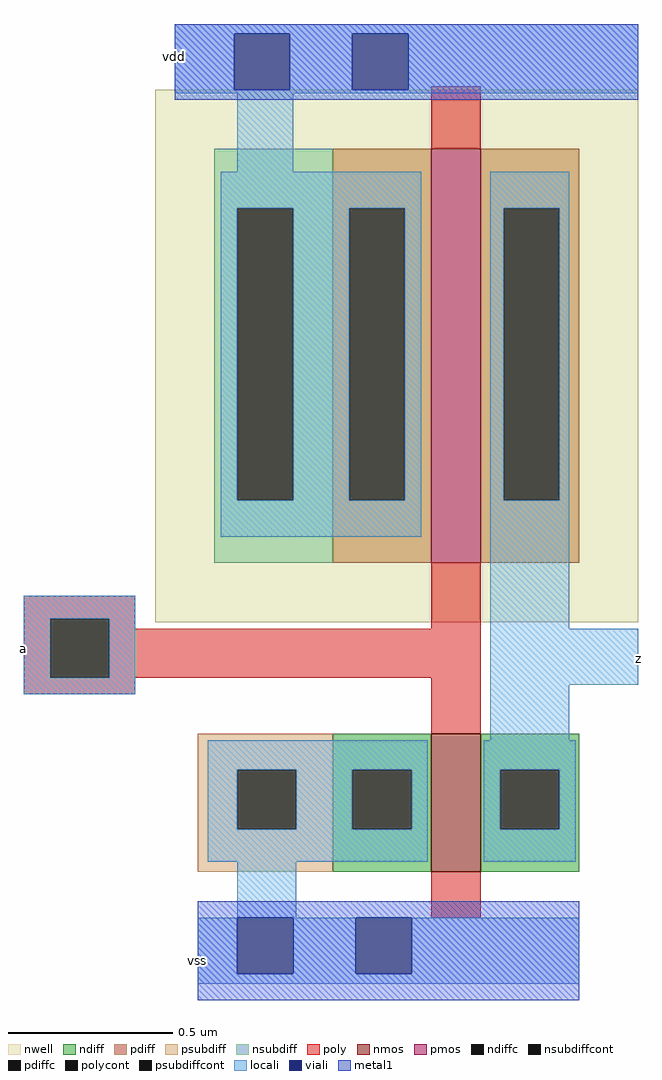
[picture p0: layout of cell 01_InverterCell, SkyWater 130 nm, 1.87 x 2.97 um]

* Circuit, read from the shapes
.subckt 01_InverterCell vdd vss a z
XM1 z a vss vss sky130_fd_pr__nfet_01v8 w=0.42 l=0.15
XM2 z a vdd vdd sky130_fd_pr__pfet_01v8 w=1.26 l=0.15
.ends

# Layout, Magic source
magic
tech sky130A
<< nwell >>
rect -81 98 66 260
<< nmos >>
rect 3 22 18 64
<< pmos >>
rect 3 116 18 242
<< ndiff >>
rect -27 53 3 64
rect -27 35 -21 53
rect -3 35 3 53
rect -27 22 3 35
rect 18 53 48 64
rect 18 35 24 53
rect 42 35 48 53
rect 18 22 48 35
<< pdiff >>
rect -27 224 3 242
rect -27 135 -22 224
rect -5 135 3 224
rect -27 116 3 135
rect 18 224 48 242
rect 18 135 25 224
rect 42 135 48 224
rect 18 116 48 135
<< ndiffc >>
rect -21 35 -3 53
rect 24 35 42 53
<< pdiffc >>
rect -22 135 -5 224
rect 25 135 42 224
<< psubdiff >>
rect -68 53 -27 64
rect -68 35 -56 53
rect -38 35 -27 53
rect -68 22 -27 35
<< nsubdiff >>
rect -63 224 -27 242
rect -63 135 -56 224
rect -39 135 -27 224
rect -63 116 -27 135
<< psubdiffcont >>
rect -56 35 -38 53
<< nsubdiffcont >>
rect -56 135 -39 224
<< poly >>
rect 3 242 18 261
rect -121 99 -87 106
rect -121 81 -113 99
rect -95 96 -87 99
rect 3 96 18 116
rect -95 81 18 96
rect -121 76 -87 81
rect 3 64 18 81
rect 3 8 18 22
<< polycont >>
rect -113 81 -95 99
<< locali >>
rect -75 277 66 280
rect -75 260 -57 277
rect -40 260 -21 277
rect -4 260 66 277
rect -75 259 66 260
rect -56 235 -39 259
rect -61 224 0 235
rect -61 135 -56 224
rect -39 135 -22 224
rect -5 135 0 224
rect -61 124 0 135
rect 21 224 45 235
rect 21 135 25 224
rect 42 135 45 224
rect -121 99 -87 106
rect -121 81 -113 99
rect -95 81 -87 99
rect -121 76 -87 81
rect 21 96 45 135
rect 21 79 66 96
rect 21 62 45 79
rect -65 53 2 62
rect -65 35 -56 53
rect -38 35 -21 53
rect -3 35 2 53
rect -65 25 2 35
rect 19 53 47 62
rect 19 35 24 53
rect 42 35 47 53
rect 19 25 47 35
rect -56 8 -38 25
rect -68 -9 -56 8
rect -39 -9 -20 8
rect -3 -9 48 8
rect -68 -12 48 -9
<< viali >>
rect -57 260 -40 277
rect -21 260 -4 277
rect -56 -9 -39 8
rect -20 -9 -3 8
<< metal1 >>
rect -75 277 66 280
rect -75 260 -57 277
rect -40 260 -21 277
rect -4 260 66 277
rect -75 257 66 260
rect -68 8 48 13
rect -68 -9 -56 8
rect -39 -9 -20 8
rect -3 -9 48 8
rect -68 -17 48 -9
<< labels >>
flabel locali -121 90 -121 90 3 FreeSans 80 0 0 0 a
port 3 e
flabel locali 66 87 66 87 7 FreeSans 80 0 0 0 z
port 4 w
flabel metal1 -75 270 -75 270 1 FreeSans 80 0 0 0 vdd
port 1 n
flabel metal1 -68 -5 -68 -5 1 FreeSans 80 0 0 0 vss
port 2 n
<< end >>
